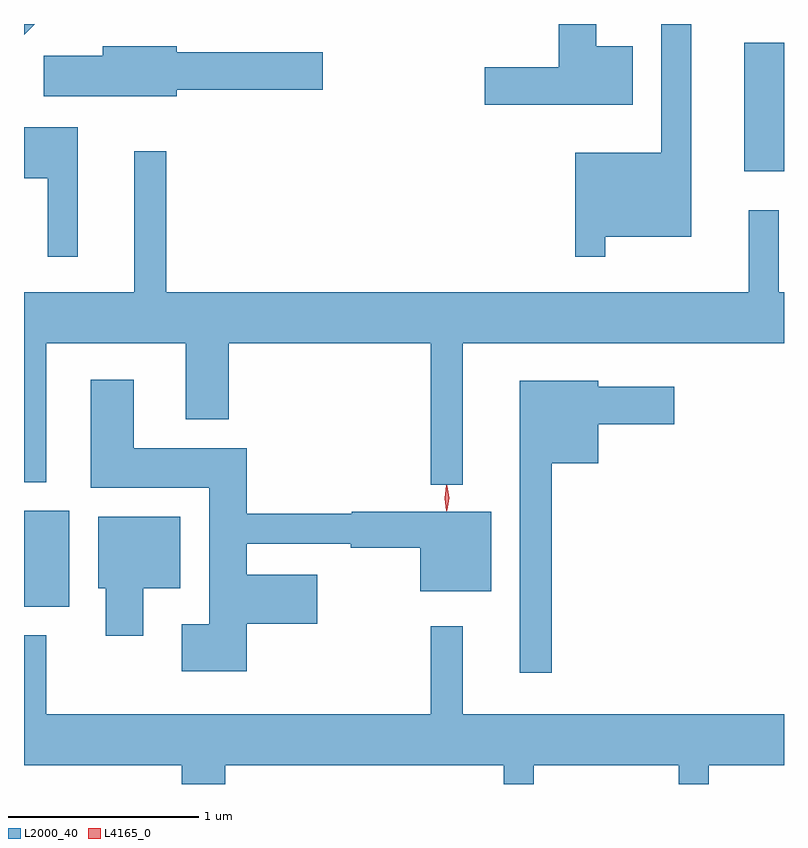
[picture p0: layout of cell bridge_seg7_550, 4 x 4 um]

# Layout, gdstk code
import gdstk
lib = gdstk.Library(unit=1e-6, precision=1e-09)
def R(c, l, rs):  # rectangles x0, y0, x1, y1
    for r in rs: c.add(gdstk.rectangle(r[:2], r[2:], *l))
def P(c, l, *ps):  # polygons
    for p in ps: c.add(gdstk.Polygon(p, *l))
L2000_40 = (2000, 40)
L4165_0 = (4165, 0)

bridge_seg7_550 = lib.new_cell('bridge_seg7_550')
R(bridge_seg7_550, L2000_40, [(975.041,1766.211,975.279,1766.714), (978.831,1768.501,979.041,1769.179)])
P(bridge_seg7_550, L2000_40, [(978.099,1768.156),(978.554,1768.156),(978.554,1769.277),(978.396,1769.277),(978.396,1768.599),(977.941,1768.599),(977.941,1768.053),(978.099,1768.053)],
  [(975.098,1769.277),(975.041,1769.277),(975.041,1769.22)],
  [(978.244,1769.159),(978.054,1769.159),(978.054,1769.277),(977.856,1769.277),(977.856,1769.049),(977.466,1769.049),(977.466,1768.851),(978.244,1768.851)],
  [(975.844,1768.931),(976.614,1768.931),(976.614,1769.129),(975.844,1769.129),(975.844,1769.159),(975.456,1769.159),(975.456,1769.109),(975.146,1769.109),(975.146,1768.896),(975.844,1768.896)],
  [(975.324,1768.734),(975.041,1768.734),(975.041,1768.466),(975.166,1768.466),(975.166,1768.053),(975.324,1768.053)],
  [(977.349,1767.596),(979.041,1767.596),(979.041,1767.864),(979.014,1767.864),(979.014,1768.298),(978.856,1768.298),(978.856,1767.864),(975.789,1767.864),(975.789,1768.608),(975.621,1768.608),(975.621,1767.864),(975.041,1767.864),(975.041,1766.866),(975.159,1766.866),(975.159,1767.596),(975.891,1767.596),(975.891,1767.196),(976.119,1767.196),(976.119,1767.596),(977.181,1767.596),(977.181,1766.853),(977.349,1766.853)],
  [(976.214,1766.121),(976.584,1766.121),(976.584,1766.379),(976.214,1766.379),(976.214,1766.541),(976.761,1766.541),(976.761,1766.521),(977.126,1766.521),(977.126,1766.291),(977.499,1766.291),(977.499,1766.709),(976.765,1766.709),(976.765,1766.699),(976.214,1766.699),(976.214,1767.044),(975.619,1767.044),(975.619,1767.404),(975.391,1767.404),(975.391,1766.836),(976.016,1766.836),(976.016,1766.119),(975.871,1766.119),(975.871,1765.871),(976.214,1765.871)],
  [(977.819,1766.966),(978.064,1766.966),(978.064,1767.171),(978.464,1767.171),(978.464,1767.369),(978.064,1767.369),(978.064,1767.399),(977.651,1767.399),(977.651,1765.863),(977.819,1765.863)],
  [(975.669,1766.306),(975.864,1766.306),(975.864,1766.684),(975.431,1766.684),(975.431,1766.306),(975.471,1766.306),(975.471,1766.056),(975.669,1766.056)],
  [(976.099,1765.376),(977.566,1765.376),(977.566,1765.277),(977.724,1765.277),(977.724,1765.376),(978.486,1765.376),(978.486,1765.277),(978.644,1765.277),(978.644,1765.376),(979.041,1765.376),(979.041,1765.644),(977.349,1765.644),(977.349,1766.108),(977.181,1766.108),(977.181,1765.644),(975.159,1765.644),(975.159,1766.059),(975.041,1766.059),(975.041,1765.376),(975.871,1765.376),(975.871,1765.277),(976.099,1765.277)])
P(bridge_seg7_550, L4165_0, [(977.265,1766.713),(977.264,1766.714),(977.255,1766.782),(977.264,1766.849),(977.265,1766.85),(977.265,1766.849),(977.275,1766.782),(977.265,1766.714)],
  [(977.268,1766.718),(977.268,1766.719),(977.258,1766.783),(977.267,1766.846),(977.267,1766.847),(977.268,1766.846),(977.278,1766.783),(977.269,1766.719)])

lib.write_gds('bridge_seg7_550.gds')
